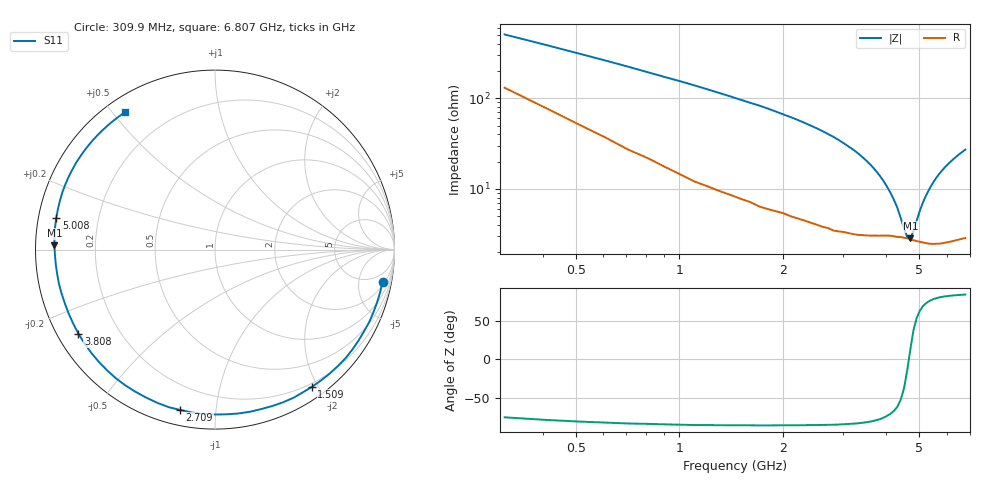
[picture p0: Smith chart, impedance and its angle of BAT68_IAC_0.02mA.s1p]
! Infineon Technologies  Discrete & RF Semiconductors
! BAT68
! IAC = 0.02 mA
! One-Port S-Parameters
# Hz  S  MA  R  50
!f  S11
!Hz  Mag  Ang
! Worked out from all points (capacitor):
!   66 points, 309.9 MHz to 6.807 GHz, reference 50 ohm
!   read as one part to ground: C = 1.02 pF near 309.9 MHz
!   lowest |Z| = 2.84 ohm at 4.708 GHz (marker M1)
!   series resonance near 4.66 GHz, so ESL is about 1.1 nH
!   S11 on the Smith chart (normalised r, x): 309.9 MHz: 3, -10; 1.509 GHz: 0.16, -1.92; 2.709 GHz: 0.07, -0.80; 3.808 GHz: 0.06, -0.28; 5.008 GHz: 0.05, +0.10; 6.807 GHz: 0.06, +0.54
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3.0985e8  0.9508 -10.9
5.0975e8  0.9498 -18.0
7.0965e8  0.9495 -25.1
1.0095e9  0.9465 -35.9
1.2094e9  0.9432 -43.4
1.50925e9  0.9361 -54.8
1.70915e9  0.9342 -62.0
2.009e9  0.9249 -74.0
2.2089e9  0.9223 -81.8
2.4088e9  0.9187 -89.9
2.6087e9  0.9166 -98.0
2.70865e9  0.9143 -102.3
2.8086e9  0.9151 -106.2
3.0085e9  0.9094 -115.0
3.2084e9  0.9065 -123.3
3.4083e9  0.9022 -131.8
3.6082e9  0.8979 -140.1
3.8081e9  0.8936 -148.4
4.10795e9  0.8887 -160.2
4.4078e9  0.8899 -171.2
4.70765e9  0.8954 178.5
5.0075e9  0.902 168.6
5.2074e9  0.9061 162.2
5.4073e9  0.9096 156.3
5.6072e9  0.9114 150.6
6.007e9  0.9132 140.4
6.4068e9  0.9138 131.4
6.8066e9  0.9153 123.2
